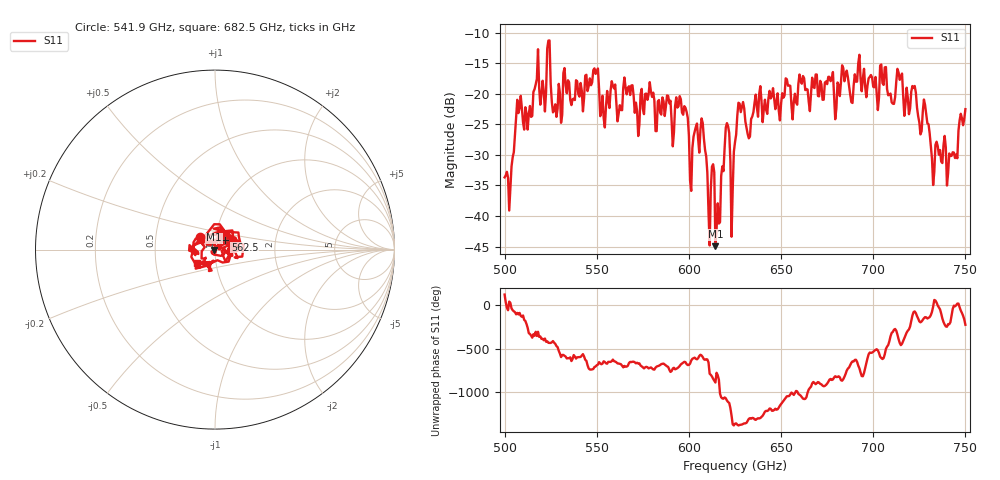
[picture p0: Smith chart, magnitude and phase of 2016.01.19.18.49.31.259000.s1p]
!Created with skrf (http://scikit-rf.org).
# GHz S RI R 50.0
!freq ReS11 ImS11
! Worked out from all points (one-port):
!   401 points, 500 GHz to 750 GHz, reference 50 ohm
!   lowest |S11| = -44.9 dB at 614.4 GHz (marker M1), VSWR 1.01, Z = 49.4 - j0.0893 ohm
!   |S11| at or under -10 dB: start of sweep to end of sweep
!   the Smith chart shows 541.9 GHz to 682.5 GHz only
!   S11 on the Smith chart (normalised r, x): 541.9 GHz: 0.84, +0.12; 562.5 GHz: 1.12, +0.13; 682.5 GHz: 0.81, -0.12
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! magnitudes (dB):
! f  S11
! 500 GHz  -33.7
! 503.8 GHz  -31.9
! 507.5 GHz  -23.1
! 516.9 GHz  -18.4
! 531.2 GHz  -23.4
! 541.9 GHz  -19.5
! 549.4 GHz  -16.7
! 553.1 GHz  -20.3
! 558.8 GHz  -18.7
! 562.5 GHz  -21.9
! 593.8 GHz  -22.2
! 601.2 GHz  -35.9
! 607.5 GHz  -24.8
! 610.6 GHz  -39.3
! 614.4 GHz  -44.9
! 615.6 GHz  -37.9
! 620.6 GHz  -24.8
! 623.1 GHz  -43.4
! 625 GHz  -27.9
! 628.1 GHz  -23.0
! 631.9 GHz  -26.6
! 656.2 GHz  -24.2
! 682.5 GHz  -18.0
! 687.5 GHz  -20.1
! 714.4 GHz  -17.7
! 718.8 GHz  -20.6
! 741.2 GHz  -29.8
! 750 GHz  -22.5
